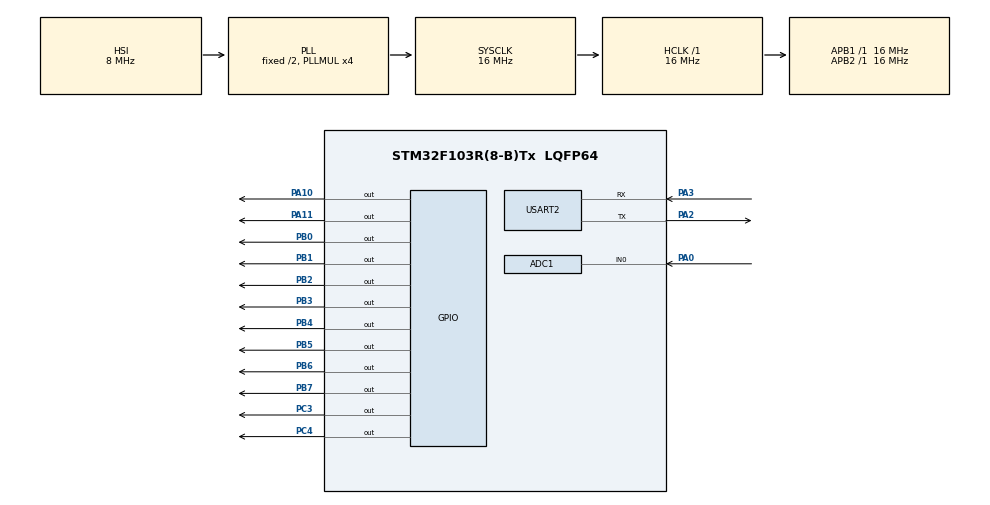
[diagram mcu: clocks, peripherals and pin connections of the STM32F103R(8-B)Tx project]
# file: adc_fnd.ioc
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ADC1.Channel-0\#ChannelRegularConversion=ADC_CHANNEL_0
ADC1.ContinuousConvMode=ENABLE
ADC1.NbrOfConversionFlag=1
ADC1.Rank-0\#ChannelRegularConversion=1
ADC1.SamplingTime-0\#ChannelRegularConversion=ADC_SAMPLETIME_1CYCLE_5
ADC1.master=1
Mcu.Family=STM32F1
Mcu.Name=STM32F103R(8-B)Tx
Mcu.Package=LQFP64
NVIC.PriorityGroup=NVIC_PRIORITYGROUP_4
NVIC.TIM2_IRQn=true\:0\:0\:false\:false\:true\:true\:true\:true
PA0-WKUP.Signal=ADCx_IN0
PA10.Signal=GPIO_Output
PA11.Signal=GPIO_Output
PA13.Mode=Serial_Wire
PA13.Signal=SYS_JTMS-SWDIO
PA14.Mode=Serial_Wire
PA14.Signal=SYS_JTCK-SWCLK
PA2.Mode=Asynchronous
PA2.Signal=USART2_TX
PA3.Mode=Asynchronous
PA3.Signal=USART2_RX
PB0.Signal=GPIO_Output
PB1.Signal=GPIO_Output
PB2.Signal=GPIO_Output
PB3.Signal=GPIO_Output
PB4.Signal=GPIO_Output
PB5.Signal=GPIO_Output
PB6.Signal=GPIO_Output
PB7.Signal=GPIO_Output
PC14-OSC32_IN.Mode=LSE-External-Oscillator
PC14-OSC32_IN.Signal=RCC_OSC32_IN
PC15-OSC32_OUT.Mode=LSE-External-Oscillator
PC15-OSC32_OUT.Signal=RCC_OSC32_OUT
PC3.Signal=GPIO_Output
PC4.Signal=GPIO_Output
PD0-OSC_IN.Mode=HSE-External-Clock-Source
PD0-OSC_IN.Signal=RCC_OSC_IN
PD1-OSC_OUT.Mode=HSE-External-Clock-Source
PD1-OSC_OUT.Signal=RCC_OSC_OUT
ProjectManager.HeapSize=0x200
ProjectManager.StackSize=0x400
ProjectManager.TargetToolchain=STM32CubeIDE
RCC.AHBFreq_Value=16000000
RCC.APB1Freq_Value=16000000
RCC.APB1TimFreq_Value=16000000
RCC.APB2Freq_Value=16000000
RCC.APB2TimFreq_Value=16000000
RCC.HCLKFreq_Value=16000000
RCC.PLLMUL=RCC_PLL_MUL4
RCC.SYSCLKFreq_VALUE=16000000
RCC.SYSCLKSource=RCC_SYSCLKSOURCE_PLLCLK
RCC.USBFreq_Value=16000000
SH.ADCx_IN0.0=ADC1_IN0,IN0
TIM2.AutoReloadPreload=TIM_AUTORELOAD_PRELOAD_ENABLE
TIM2.Period=4000-1
TIM2.Prescaler=4000-1
USART2.VirtualMode=VM_ASYNC
VP_TIM2_VS_ClockSourceINT.Mode=Internal
board=custom

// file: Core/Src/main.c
/* USER CODE BEGIN Header */
/**
  ******************************************************************************
  * @file           : main.c
  * @brief          : Main program body
  ******************************************************************************
  * @attention
  *
  * Copyright (c) 2023 STMicroelectronics.
  * All rights reserved.
  *
  * This software is licensed under terms that can be found in the LICENSE file
  * in the root directory of this software component.
  * If no LICENSE file comes with this software, it is provided AS-IS.
  *
  ******************************************************************************
  */
/* USER CODE END Header */
#include "main.h"

/* USER CODE BEGIN Includes */
#include "stdio.h"
/* USER CODE END Includes */

ADC_HandleTypeDef hadc1;

TIM_HandleTypeDef htim2;

UART_HandleTypeDef huart2;

/* USER CODE BEGIN PV */
int adc_value;
uint8_t number[] = {0x3f, 0x06, 0x5b, 0x4f, 0x66,0x6d, 0x7d, 0x07, 0x7f, 0x67};
int cnt = 0;

/* USER CODE END PV */

void SystemClock_Config(void);
static void MX_GPIO_Init(void);
static void MX_ADC1_Init(void);
static void MX_TIM2_Init(void);
static void MX_USART2_UART_Init(void);

/* USER CODE BEGIN 0 */
int __io_putchar(int ch) {
   HAL_UART_Transmit(&huart2, (uint8_t *)&ch, 1, 1000);
   if (ch == '\n')
      HAL_UART_Transmit(&huart2, (uint8_t *)"\r", 1, 1000);
   return ch;
}
typedef struct fnd { 	// 구조체
  GPIO_TypeDef *port;
  uint16_t pin;
} FND;
FND value[8] = {
  {GPIOB, GPIO_PIN_0}, {GPIOB, GPIO_PIN_1},
  {GPIOB, GPIO_PIN_2}, {GPIOB, GPIO_PIN_3},
  {GPIOB, GPIO_PIN_4}, {GPIOB, GPIO_PIN_5},
  {GPIOB, GPIO_PIN_6}, {GPIOB, GPIO_PIN_7}
};
FND sel[4] = {
  {GPIOA, GPIO_PIN_10}, {GPIOA, GPIO_PIN_11},
  {GPIOC, GPIO_PIN_4}, {GPIOC, GPIO_PIN_3}
};
void display_fnd(uint8_t data, uint8_t position, uint32_t time) {  // 함수
  int i;
  for (i = 0; i < 4; i++) {
    if(i == position)
      HAL_GPIO_WritePin(sel[i].port, sel[i].pin, 1);
    else
      HAL_GPIO_WritePin(sel[i].port, sel[i].pin, 0);
  }
  for(i = 0; i < 8; i++) {
    if((data & (1 << i)) != 0)
      HAL_GPIO_WritePin(value[i].port, value[i].pin, 1);
    else
      HAL_GPIO_WritePin(value[i].port, value[i].pin, 0);
  }
  HAL_Delay(time);
}

/* USER CODE END 0 */

int main(void)
{
  /* USER CODE BEGIN 1 */
	int a;
	int b;
	int c;
	int d;
  /* USER CODE END 1 */

  /* MCU Configuration--------------------------------------------------------*/

  /* Reset of all peripherals, Initializes the Flash interface and the Systick. */
  HAL_Init();

  /* Configure the system clock */
  SystemClock_Config();

  /* Initialize all configured peripherals */
  MX_GPIO_Init();
  MX_ADC1_Init();
  MX_TIM2_Init();
  MX_USART2_UART_Init();
  /* USER CODE BEGIN 2 */
  HAL_ADCEx_Calibration_Start(&hadc1);
  HAL_ADC_Start(&hadc1);
  HAL_TIM_Base_Start_IT(&htim2);
  cnt = HAL_GetTick();
  /* USER CODE END 2 */

  /* Infinite loop */
  /* USER CODE BEGIN WHILE */
  while (1)
  {
#if 1
    /* USER CODE END WHILE */
	  a = adc_value/1000;
	  b = (adc_value%1000)/100;
	  c = (adc_value%100)/10;
	  d = adc_value%10;
	  display_fnd(number[a], 3, 1);
	  display_fnd(number[b], 2, 1);
	  display_fnd(number[c], 1, 1);
	  display_fnd(number[d], 0, 1);
#endif
	  if(HAL_GetTick() - cnt > 1000){
		  if(HAL_ADC_PollForConversion(&hadc1, 10) == HAL_OK){
			  adc_value = HAL_ADC_GetValue(&hadc1);
			  printf("ADC_VLAUR : %d\n\n", adc_value);
			  cnt = HAL_GetTick();
		  }
	  }
  }
}

void SystemClock_Config(void)
{
  RCC_OscInitTypeDef RCC_OscInitStruct = {0};
  RCC_ClkInitTypeDef RCC_ClkInitStruct = {0};
  RCC_PeriphCLKInitTypeDef PeriphClkInit = {0};

  /** Initializes the RCC Oscillators according to the specified parameters
  * in the RCC_OscInitTypeDef structure.
  */
  RCC_OscInitStruct.OscillatorType = RCC_OSCILLATORTYPE_HSI;
  RCC_OscInitStruct.HSIState = RCC_HSI_ON;
  RCC_OscInitStruct.HSICalibrationValue = RCC_HSICALIBRATION_DEFAULT;
  RCC_OscInitStruct.PLL.PLLState = RCC_PLL_ON;
  RCC_OscInitStruct.PLL.PLLSource = RCC_PLLSOURCE_HSI_DIV2;
  RCC_OscInitStruct.PLL.PLLMUL = RCC_PLL_MUL4;
  if (HAL_RCC_OscConfig(&RCC_OscInitStruct) != HAL_OK)
  {
    Error_Handler();
  }

  /** Initializes the CPU, AHB and APB buses clocks
  */
  RCC_ClkInitStruct.ClockType = RCC_CLOCKTYPE_HCLK|RCC_CLOCKTYPE_SYSCLK
                              |RCC_CLOCKTYPE_PCLK1|RCC_CLOCKTYPE_PCLK2;
  RCC_ClkInitStruct.SYSCLKSource = RCC_SYSCLKSOURCE_PLLCLK;
  RCC_ClkInitStruct.AHBCLKDivider = RCC_SYSCLK_DIV1;
  RCC_ClkInitStruct.APB1CLKDivider = RCC_HCLK_DIV1;
  RCC_ClkInitStruct.APB2CLKDivider = RCC_HCLK_DIV1;

  if (HAL_RCC_ClockConfig(&RCC_ClkInitStruct, FLASH_LATENCY_0) != HAL_OK)
  {
    Error_Handler();
  }
  PeriphClkInit.PeriphClockSelection = RCC_PERIPHCLK_ADC;
  PeriphClkInit.AdcClockSelection = RCC_ADCPCLK2_DIV2;
  if (HAL_RCCEx_PeriphCLKConfig(&PeriphClkInit) != HAL_OK)
  {
    Error_Handler();
  }
}

static void MX_ADC1_Init(void)
{

  ADC_ChannelConfTypeDef sConfig = {0};

  /** Common config
  */
  hadc1.Instance = ADC1;
  hadc1.Init.ScanConvMode = ADC_SCAN_DISABLE;
  hadc1.Init.ContinuousConvMode = ENABLE;
  hadc1.Init.DiscontinuousConvMode = DISABLE;
  hadc1.Init.ExternalTrigConv = ADC_SOFTWARE_START;
  hadc1.Init.DataAlign = ADC_DATAALIGN_RIGHT;
  hadc1.Init.NbrOfConversion = 1;
  if (HAL_ADC_Init(&hadc1) != HAL_OK)
  {
    Error_Handler();
  }

  /** Configure Regular Channel
  */
  sConfig.Channel = ADC_CHANNEL_0;
  sConfig.Rank = ADC_REGULAR_RANK_1;
  sConfig.SamplingTime = ADC_SAMPLETIME_1CYCLE_5;
  if (HAL_ADC_ConfigChannel(&hadc1, &sConfig) != HAL_OK)
  {
    Error_Handler();
  }

}

static void MX_TIM2_Init(void)
{

  TIM_ClockConfigTypeDef sClockSourceConfig = {0};
  TIM_MasterConfigTypeDef sMasterConfig = {0};

  htim2.Instance = TIM2;
  htim2.Init.Prescaler = 4000-1;
  htim2.Init.CounterMode = TIM_COUNTERMODE_UP;
  htim2.Init.Period = 4000-1;
  htim2.Init.ClockDivision = TIM_CLOCKDIVISION_DIV1;
  htim2.Init.AutoReloadPreload = TIM_AUTORELOAD_PRELOAD_ENABLE;
  if (HAL_TIM_Base_Init(&htim2) != HAL_OK)
  {
    Error_Handler();
  }
  sClockSourceConfig.ClockSource = TIM_CLOCKSOURCE_INTERNAL;
  if (HAL_TIM_ConfigClockSource(&htim2, &sClockSourceConfig) != HAL_OK)
  {
    Error_Handler();
  }
  sMasterConfig.MasterOutputTrigger = TIM_TRGO_RESET;
  sMasterConfig.MasterSlaveMode = TIM_MASTERSLAVEMODE_DISABLE;
  if (HAL_TIMEx_MasterConfigSynchronization(&htim2, &sMasterConfig) != HAL_OK)
  {
    Error_Handler();
  }

}

static void MX_USART2_UART_Init(void)
{

  huart2.Instance = USART2;
  huart2.Init.BaudRate = 115200;
  huart2.Init.WordLength = UART_WORDLENGTH_8B;
  huart2.Init.StopBits = UART_STOPBITS_1;
  huart2.Init.Parity = UART_PARITY_NONE;
  huart2.Init.Mode = UART_MODE_TX_RX;
  huart2.Init.HwFlowCtl = UART_HWCONTROL_NONE;
  huart2.Init.OverSampling = UART_OVERSAMPLING_16;
  if (HAL_UART_Init(&huart2) != HAL_OK)
  {
    Error_Handler();
  }

}

static void MX_GPIO_Init(void)
{
  GPIO_InitTypeDef GPIO_InitStruct = {0};

  /* GPIO Ports Clock Enable */
  __HAL_RCC_GPIOC_CLK_ENABLE();
  __HAL_RCC_GPIOD_CLK_ENABLE();
  __HAL_RCC_GPIOA_CLK_ENABLE();
  __HAL_RCC_GPIOB_CLK_ENABLE();

  /*Configure GPIO pin Output Level */
  HAL_GPIO_WritePin(GPIOC, GPIO_PIN_3|GPIO_PIN_4, GPIO_PIN_RESET);

  /*Configure GPIO pin Output Level */
  HAL_GPIO_WritePin(GPIOB, GPIO_PIN_0|GPIO_PIN_1|GPIO_PIN_2|GPIO_PIN_3
                          |GPIO_PIN_4|GPIO_PIN_5|GPIO_PIN_6|GPIO_PIN_7, GPIO_PIN_RESET);

  /*Configure GPIO pin Output Level */
  HAL_GPIO_WritePin(GPIOA, GPIO_PIN_10|GPIO_PIN_11, GPIO_PIN_RESET);

  /*Configure GPIO pins : PC3 PC4 */
  GPIO_InitStruct.Pin = GPIO_PIN_3|GPIO_PIN_4;
  GPIO_InitStruct.Mode = GPIO_MODE_OUTPUT_PP;
  GPIO_InitStruct.Pull = GPIO_NOPULL;
  GPIO_InitStruct.Speed = GPIO_SPEED_FREQ_LOW;
  HAL_GPIO_Init(GPIOC, &GPIO_InitStruct);

  /*Configure GPIO pins : PB0 PB1 PB2 PB3
                           PB4 PB5 PB6 PB7 */
  GPIO_InitStruct.Pin = GPIO_PIN_0|GPIO_PIN_1|GPIO_PIN_2|GPIO_PIN_3
                          |GPIO_PIN_4|GPIO_PIN_5|GPIO_PIN_6|GPIO_PIN_7;
  GPIO_InitStruct.Mode = GPIO_MODE_OUTPUT_PP;
  GPIO_InitStruct.Pull = GPIO_NOPULL;
  GPIO_InitStruct.Speed = GPIO_SPEED_FREQ_LOW;
  HAL_GPIO_Init(GPIOB, &GPIO_InitStruct);

  /*Configure GPIO pins : PA10 PA11 */
  GPIO_InitStruct.Pin = GPIO_PIN_10|GPIO_PIN_11;
  GPIO_InitStruct.Mode = GPIO_MODE_OUTPUT_PP;
  GPIO_InitStruct.Pull = GPIO_NOPULL;
  GPIO_InitStruct.Speed = GPIO_SPEED_FREQ_LOW;
  HAL_GPIO_Init(GPIOA, &GPIO_InitStruct);

}

/* USER CODE BEGIN 4 */
#if 0
void HAL_TIM_PeriodElapsedCallback( TIM_HandleTypeDef *htim)
{
	  if (htim == &htim2) {
	    if(HAL_ADC_PollForConversion(&hadc1, 10) == HAL_OK) {
	      adc_value = HAL_ADC_GetValue(&hadc1);
	      printf("ACD_VALUE = %d\n\n", adc_value);
	    }
	  }

}
#endif
/* USER CODE END 4 */

void Error_Handler(void)
{
  __disable_irq();
  while (1)
  {
  }
}
